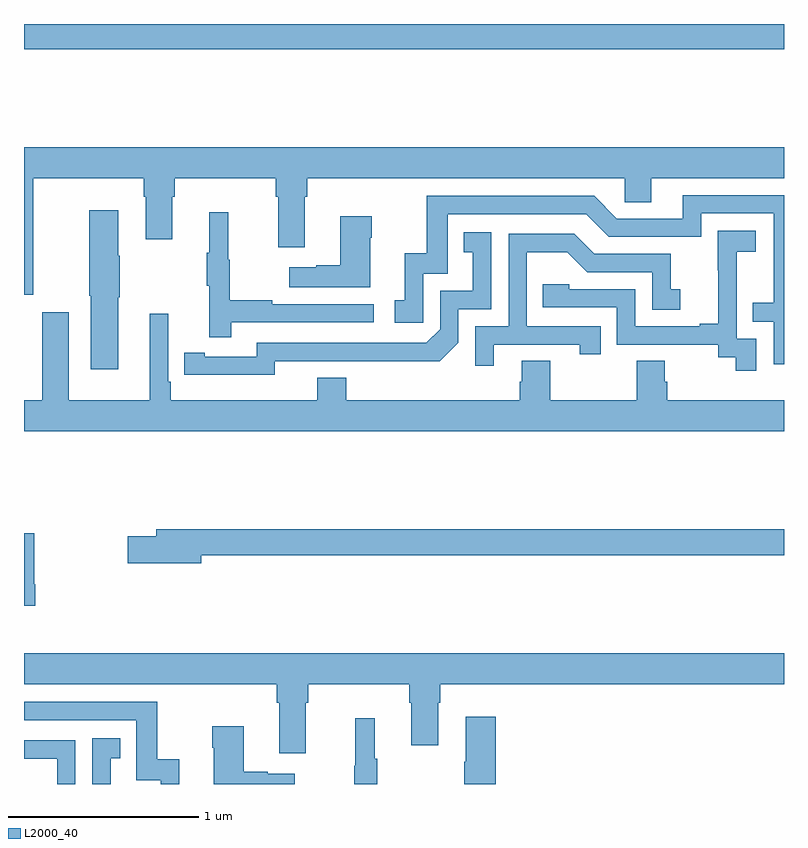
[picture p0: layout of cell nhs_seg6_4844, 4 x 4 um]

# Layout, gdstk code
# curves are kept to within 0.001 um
import gdstk
lib = gdstk.Library(unit=1e-6, precision=1e-09)
def R(c, l, rs):  # rectangles x0, y0, x1, y1
    for r in rs: c.add(gdstk.rectangle(r[:2], r[2:], *l))
def P(c, l, *ps):  # polygons
    for p in ps: c.add(gdstk.Polygon(p, *l))
L2000_40 = (2000, 40)

nhs_seg6_4844 = lib.new_cell('nhs_seg6_4844')
R(nhs_seg6_4844, L2000_40, [(399,929.368,403,929.5)])
P(nhs_seg6_4844, L2000_40, [(399.049,928.688),(399.629,928.688),(399.629,928.592),(399.641,928.592),(399.641,928.368),(399.781,928.368),(399.781,928.592),(399.794,928.592),(399.794,928.688),(400.325,928.688),(400.325,928.592),(400.337,928.592),(400.337,928.326),(400.477,928.326),(400.477,928.592),(400.49,928.592),(400.49,928.688),(402.162,928.688),(402.162,928.561),(402.301,928.561),(402.301,928.688),(403,928.688),(403,928.852),(399,928.852),(399,928.074),(399.049,928.074)],
  [(403,928.599),(402.467,928.599),(402.467,928.476),(402.12,928.476),(402,928.596),(401.121,928.596),(401.121,928.294),(401.003,928.294),(401.003,928.047),(400.95,928.047),(400.95,927.927),(401.1,927.927),(401.1,928.185),(401.229,928.185),(401.229,928.5),(401.958,928.5),(402.078,928.38),(402.564,928.38),(402.564,928.503),(402.945,928.503),(402.945,928.034),(402.835,928.034),(402.835,927.933),(402.945,927.933),(402.945,927.708),(403,927.708)],
  [(399.496,928.063),(399.504,928.063),(399.504,928.28),(399.496,928.28),(399.496,928.519),(399.343,928.519),(399.343,928.069),(399.35,928.069),(399.35,927.684),(399.496,927.684)],
  [(400.091,927.93),(400.84,927.93),(400.84,928.026),(400.307,928.026),(400.307,928.046),(400.084,928.046),(400.084,928.26),(400.076,928.26),(400.076,928.51),(399.974,928.51),(399.974,928.297),(399.963,928.297),(399.963,928.123),(399.974,928.123),(399.974,927.852),(400.091,927.852)],
  [(400.822,928.376),(400.83,928.376),(400.83,928.489),(400.664,928.489),(400.664,928.229),(400.538,928.229),(400.538,928.219),(400.395,928.219),(400.395,928.115),(400.822,928.115)],
  [(402.855,927.843),(402.75,927.843),(402.75,928.073),(402.752,928.073),(402.752,928.301),(402.85,928.301),(402.85,928.411),(402.652,928.411),(402.652,928.205),(402.653,928.205),(402.653,927.922),(402.557,927.922),(402.557,927.909),(402.216,927.909),(402.216,928.104),(401.871,928.104),(401.871,928.131),(401.731,928.131),(401.731,928.008),(402.12,928.008),(402.12,927.813),(402.654,927.813),(402.654,927.745),(402.747,927.745),(402.747,927.675),(402.855,927.675)],
  [(400.32,927.726),(401.188,927.725),(401.286,927.822),(401.286,927.999),(401.46,927.999),(401.46,928.405),(401.314,928.405),(401.314,928.299),(401.363,928.299),(401.363,928.095),(401.19,928.095),(401.19,927.894),(401.118,927.822),(400.224,927.822),(400.224,927.75),(399.952,927.75),(399.952,927.77),(399.844,927.77),(399.844,927.654),(400.32,927.653)],
  [(401.473,927.813),(401.924,927.813),(401.924,927.762),(402.035,927.762),(402.035,927.909),(401.646,927.909),(401.646,928.298),(401.86,928.298),(401.964,928.194),(402.306,928.194),(402.306,927.996),(402.454,927.996),(402.454,928.105),(402.405,928.105),(402.405,928.29),(402.001,928.29),(401.896,928.395),(401.55,928.395),(401.55,927.909),(401.376,927.909),(401.376,927.702),(401.473,927.702)],
  [(403,927.52),(402.386,927.52),(402.386,927.618),(402.373,927.618),(402.373,927.728),(402.226,927.728),(402.226,927.52),(401.769,927.52),(401.769,927.728),(401.621,927.728),(401.621,927.618),(401.609,927.618),(401.609,927.52),(400.697,927.52),(400.697,927.637),(400.544,927.637),(400.544,927.52),(399.773,927.52),(399.773,927.616),(399.759,927.616),(399.759,927.976),(399.662,927.976),(399.662,927.52),(399.235,927.52),(399.235,927.982),(399.095,927.982),(399.095,927.52),(399,927.52),(399,927.356),(403,927.356)],
  [(399.934,926.704),(403,926.704),(403,926.84),(399.695,926.84),(399.695,926.804),(399.546,926.804),(399.546,926.662),(399.934,926.662)],
  [(399.059,926.551),(399.054,926.551),(399.054,926.82),(399,926.82),(399,926.439),(399.059,926.439)],
  [(400.483,925.928),(400.496,925.928),(400.496,926.024),(401.027,926.024),(401.027,925.928),(401.039,925.928),(401.039,925.704),(401.179,925.704),(401.179,925.928),(401.192,925.928),(401.192,926.024),(403,926.024),(403,926.188),(399,926.188),(399,926.024),(400.331,926.024),(400.331,925.928),(400.343,925.928),(400.343,925.662),(400.483,925.662)],
  [(399.818,925.63),(399.7,925.63),(399.7,925.932),(399,925.932),(399,925.836),(399.591,925.836),(399.591,925.521),(399.72,925.521),(399.72,925.5),(399.818,925.5)],
  [(401.483,925.855),(401.324,925.855),(401.324,925.616),(401.317,925.616),(401.317,925.5),(401.483,925.5)],
  [(400.858,925.633),(400.847,925.633),(400.847,925.846),(400.744,925.846),(400.744,925.596),(400.737,925.596),(400.737,925.5),(400.858,925.5)],
  [(400.426,925.555),(400.283,925.555),(400.283,925.565),(400.156,925.565),(400.156,925.804),(399.991,925.804),(399.991,925.691),(399.998,925.691),(399.998,925.5),(400.426,925.5)],
  [(399.457,925.635),(399.506,925.635),(399.506,925.741),(399.36,925.741),(399.36,925.5),(399.457,925.5)],
  [(399.27,925.731),(399,925.731),(399,925.634),(399.174,925.634),(399.174,925.5),(399.27,925.5)])

lib.write_gds('nhs_seg6_4844.gds')
